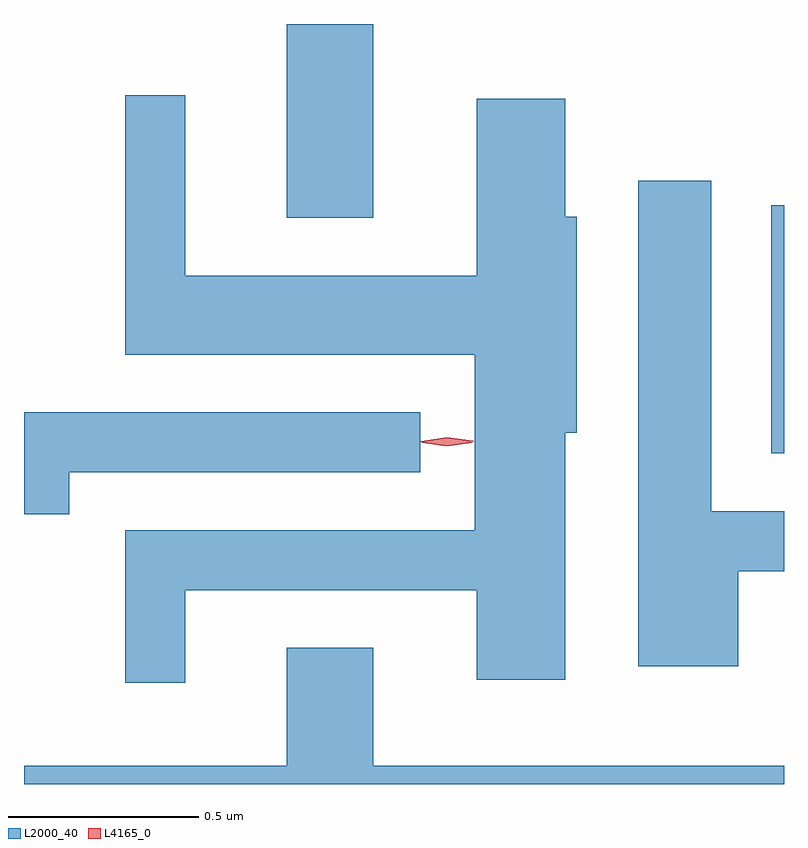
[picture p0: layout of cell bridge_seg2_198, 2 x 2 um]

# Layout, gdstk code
import gdstk
lib = gdstk.Library(unit=1e-6, precision=1e-09)
def R(c, l, rs):  # rectangles x0, y0, x1, y1
    for r in rs: c.add(gdstk.rectangle(r[:2], r[2:], *l))
def P(c, l, *ps):  # polygons
    for p in ps: c.add(gdstk.Polygon(p, *l))
L2000_40 = (2000, 40)
L4165_0 = (4165, 0)

bridge_seg2_198 = lib.new_cell('bridge_seg2_198')
R(bridge_seg2_198, L2000_40, [(725.526,1029.426,725.56,1030.079), (724.251,1030.046,724.479,1030.556)])
P(bridge_seg2_198, L2000_40, [(723.984,1029.066),(724.751,1029.066),(724.751,1028.831),(724.984,1028.831),(724.984,1029.481),(725.014,1029.481),(725.014,1030.049),(724.984,1030.049),(724.984,1030.359),(724.751,1030.359),(724.751,1029.894),(723.984,1029.894),(723.984,1030.368),(723.826,1030.368),(723.826,1029.686),(724.746,1029.686),(724.746,1029.224),(723.826,1029.224),(723.826,1028.823),(723.984,1028.823)],
  [(725.439,1029.116),(725.56,1029.116),(725.56,1029.274),(725.369,1029.274),(725.369,1030.144),(725.176,1030.144),(725.176,1028.866),(725.439,1028.866)],
  [(723.679,1029.376),(724.603,1029.376),(724.603,1029.534),(723.56,1029.534),(723.56,1029.266),(723.679,1029.266)],
  [(725.56,1028.604),(724.479,1028.604),(724.479,1028.914),(724.251,1028.914),(724.251,1028.604),(723.56,1028.604),(723.56,1028.556),(725.56,1028.556)])
P(bridge_seg2_198, L4165_0, [(724.673,1029.448),(724.604,1029.457),(724.604,1029.458),(724.604,1029.458),(724.673,1029.468),(724.742,1029.459),(724.743,1029.458),(724.742,1029.458)],
  [(724.673,1029.445),(724.608,1029.454),(724.607,1029.455),(724.608,1029.455),(724.673,1029.465),(724.739,1029.455),(724.74,1029.455),(724.739,1029.454)])

lib.write_gds('bridge_seg2_198.gds')
